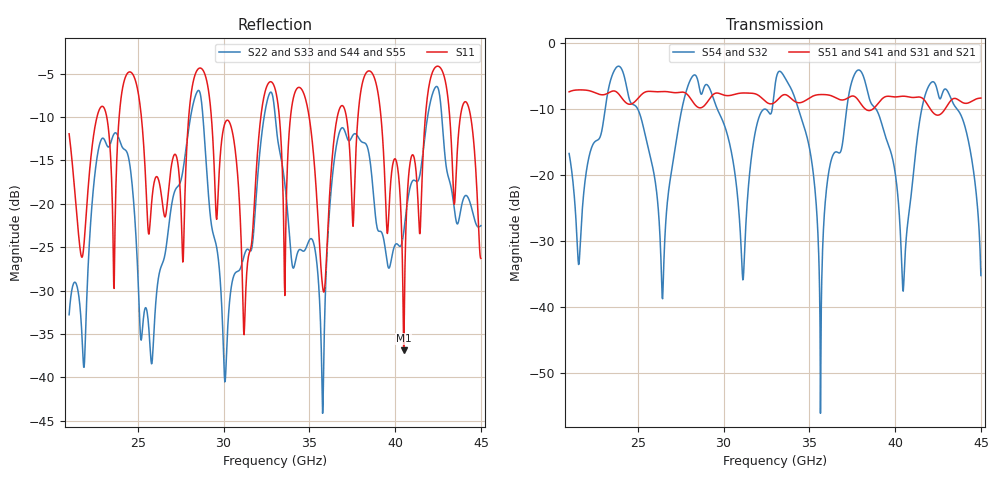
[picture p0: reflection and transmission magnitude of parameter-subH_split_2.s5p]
! Created Mon Jun 10 12:44:15 2024
# hz S ma R 50
! 5 Port Network Data from SP1.SP block
! freq  magS11  angS11  magS12  angS12  magS13  angS13  magS14  angS14
!  magS15  angS15
!  magS21  angS21  magS22  angS22  magS23  angS23
!  magS24  angS24  magS25  angS25
!  magS31  angS31  magS32  angS32
!  magS33  angS33  magS34  angS34  magS35  angS35
!  magS41  angS41
!  magS42  angS42  magS43  angS43  magS44  angS44  magS45  angS45
!  magS51  angS51  magS52  angS52  magS53  angS53  magS54  angS54
!  magS55  angS55
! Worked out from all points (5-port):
!   961 points, 21 GHz to 45 GHz, reference 50 ohm
!   strongest paths, dB at 21 GHz, 27 GHz, 33 GHz, 39 GHz, 45 GHz:
!     S51: -7.4, -7.5, -9.0, -9.2, -8.3
!     S41: -7.4, -7.5, -9.0, -9.2, -8.3
!     S31: -7.4, -7.5, -9.0, -9.2, -8.3
!     S21: -7.4, -7.5, -9.0, -9.2, -8.3
!     S54: -16.7, -18.9, -6.5, -10.6, -35.2
!     S32: -16.7, -18.9, -6.5, -10.6, -35.2
!   lowest |S11| = -36.9 dB at 40.5 GHz (marker M1), VSWR 1.03, Z = 48.6 + j0.142 ohm
!   |S11| at or under -10 dB: 25.21 GHz to 27.97 GHz (2.758 GHz wide, 10.4 % of centre); 29.29 GHz to 32.17 GHz (2.881 GHz wide, 9.37 % of centre); 39.18 GHz to 41.76 GHz (2.586 GHz wide, 6.39 % of centre)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
